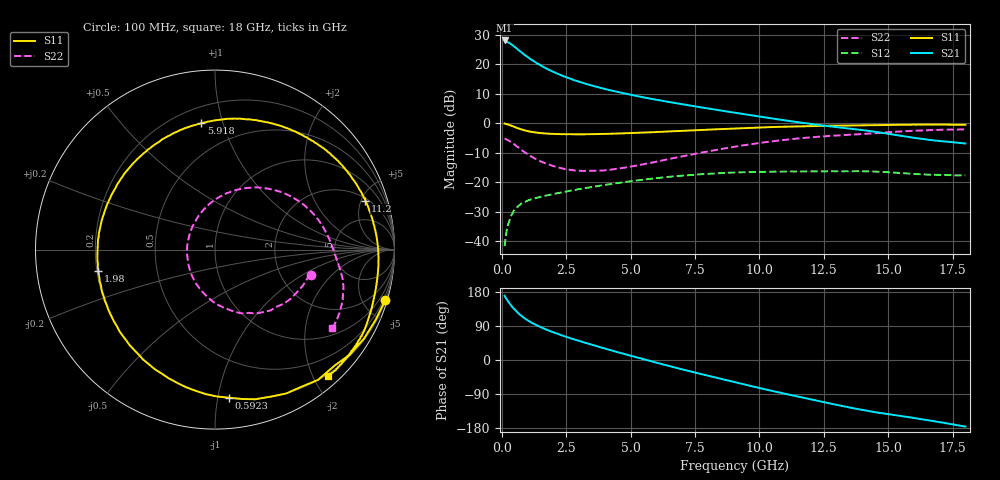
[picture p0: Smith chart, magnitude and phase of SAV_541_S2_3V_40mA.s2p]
! Data provided by Modelithics, Inc.  Tampa, Florida USA, June 2008
!Model SAV-541+
!VAR V_out= 3
!VAR I_out= 40
!VAR V_in= 0.4089
!VAR I_in= 0.9720
!BEGIN ACDATA
# GHZ S MA R 50
! Scattering Parameters
!% F n11x n11y n21x n21y n12x n12y n22x n22y
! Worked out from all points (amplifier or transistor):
!   401 points, 100 MHz to 18 GHz, reference 50 ohm
!   highest |S21| = 28.1 dB at 100 MHz (marker M1)
!   |S21| within 3 dB of that: start of sweep to 606.3 MHz
!   unconditionally stable (mu >= 1): 3.938 GHz to 10.35 GHz; 10.35 GHz to 10.53 GHz
!   at 3.054 GHz: K = 0.91, MSG = 18.1 dB, |S12| = -22.3 dB
!   at 9.05 GHz: K = 1.04, MAG = 8.8 dB, |S12| = -16.7 dB
!   at 18 GHz: K = 0.91, MSG = 5.4 dB, |S12| = -17.7 dB
!   lowest NFmin = 0.07 dB at 500 MHz
!   S11 on the Smith chart (normalised r, x): 100 MHz: 0.26, -6.86; 592.2 MHz: 0.20, -1.08; 1.98 GHz: 0.21, -0.09; 5.918 GHz: 0.30, +0.85; 11.2 GHz: 2.23, +5.43; 18 GHz: 0.17, -2.22
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0.1  0.9892 -16.6  25.27 169.5  0.00829 89.1  0.5519 -14.7
0.1895  0.967 -30.9  23.98 159.6  0.01611 74.9  0.5292 -22.2
0.279  0.9283 -44.1  22.84 150.6  0.02162 70.3  0.5033 -32.9
0.3685  0.903 -57.8  21.63 142.4  0.0281 61.5  0.4693 -42.5
0.458  0.877 -68.9  20.18 135.5  0.0334 56.9  0.4467 -50.5
0.59225  0.8281 -84.7  18.08 125.9  0.03801 50.7  0.3991 -62.0
0.7265  0.7929 -98.2  16.24 117.8  0.04299 45.6  0.363 -72.5
0.86075  0.7618 -109.9  14.6 110.8  0.04579 40.9  0.3278 -81.3
1.12925  0.7177 -128.9  12.03 99.4  0.05155 35.8  0.2748 -96.6
1.48725  0.6839 -149.0  9.618 87.1  0.05658 31.5  0.228 -113.4
1.9795  0.6606 -169.7  7.463 73.4  0.06312 26.9  0.1891 -134.4
2.47175  0.652 173.7  6.067 61.6  0.06949 23.3  0.1674 -152.8
3.09825  0.6502 156.0  4.888 48.2  0.07842 19.0  0.1561 -174.8
4.396  0.6681 125.8  3.461 22.4  0.09581 8.3  0.1682 145.8
5.9175  0.7083 96.2  2.538 -5.6  0.1164 -6.5  0.2199 110.3
6.0965  0.7144 93.1  2.46 -8.8  0.1191 -8.6  0.2287 107.1
7.439  0.759 70.9  1.949 -32.1  0.1338 -23.3  0.3004 83.5
9.05  0.8146 47.1  1.505 -58.6  0.1462 -41.5  0.4016 59.3
11.198  0.8813 18.0  1.087 -92.2  0.1526 -66.7  0.536 30.8
12.04825  0.8971 7.7  0.9673 -104.7  0.153 -76.2  0.58 20.7
15.0465  0.9355 -23.4  0.6595 -143.5  0.1477 -106.9  0.7064 -9.1
18  0.9438 -48.3  0.4544 -175.7  0.1309 -131.4  0.787 -33.9
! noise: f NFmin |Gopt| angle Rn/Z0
0.5  0.071  0.3396  27  0.054
0.7  0.101  0.3464  37.65  0.048
0.9  0.131  0.353  48.14  0.044
1  0.146  0.3563  53.32  0.041
1.9  0.281  0.3853  98.07  0.03
2.4  0.356  0.4009  121.5  0.029
3  0.446  0.419  148.2  0.034
3.9  0.581  0.445  -174.5  0.054
5  0.747  0.4751  -133.5  0.097
6  0.897  0.5007  -100.6  0.154
